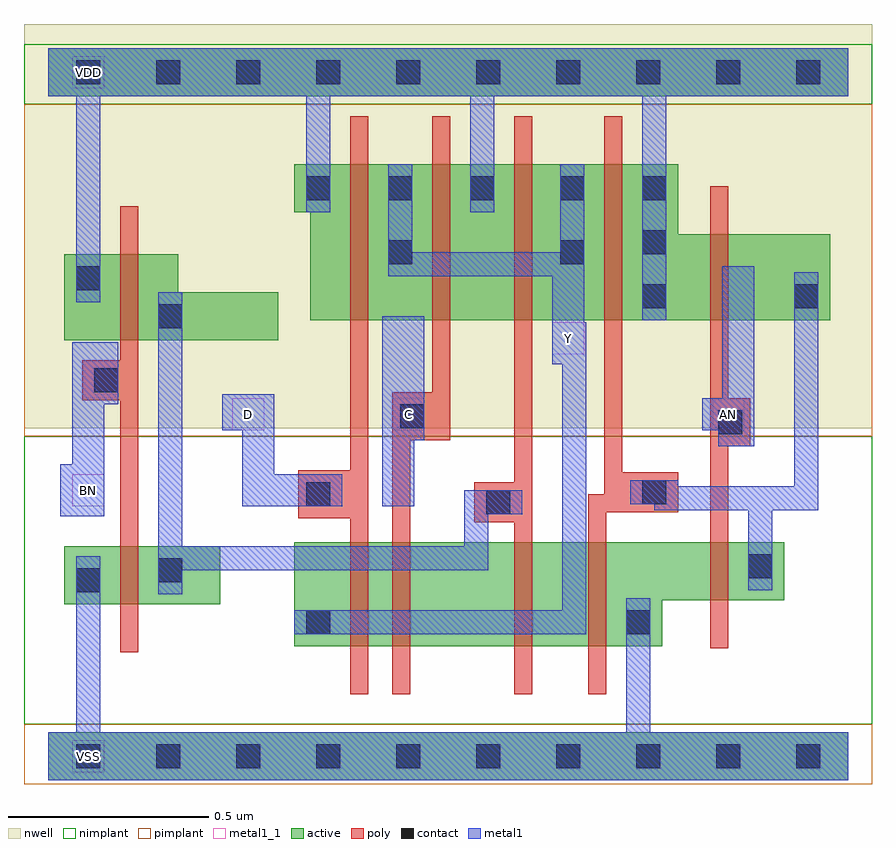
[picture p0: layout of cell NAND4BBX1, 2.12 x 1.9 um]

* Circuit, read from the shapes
.subckt NAND4BBX1 AN BN C D VDD VSS Y
M1 n1 BN VSS VSS nfet w=0.145u l=0.045u
M2 n2 D Y VSS nfet w=0.26u l=0.045u
M3 n3 C n2 VSS nfet w=0.26u l=0.045u
M4 n4 n1 n3 VSS nfet w=0.26u l=0.045u
M5 VSS n5 n4 VSS nfet w=0.26u l=0.045u
M6 n5 AN VSS VSS nfet w=0.145u l=0.045u
M7 n1 BN VDD VDD pfet w=0.215u l=0.045u
M8 Y D VDD VDD pfet w=0.39u l=0.045u
M9 VDD C Y VDD pfet w=0.39u l=0.045u
M10 Y n1 VDD VDD pfet w=0.39u l=0.045u
M11 VDD n5 Y VDD pfet w=0.39u l=0.045u
M12 n5 AN VDD VDD pfet w=0.215u l=0.045u
.ends

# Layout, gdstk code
import gdstk
lib = gdstk.Library(unit=1e-6, precision=5e-10)
def R(c, l, rs):  # rectangles x0, y0, x1, y1
    for r in rs: c.add(gdstk.rectangle(r[:2], r[2:], *l))
def A(c, l, x, y, w, h, nx, ny, dx, dy):  # array of equal rectangles
    R(c, l, [(x+i*dx, y+j*dy, x+i*dx+w, y+j*dy+h) for i in range(nx) for j in range(ny)])
def P(c, l, *ps):  # polygons
    for p in ps: c.add(gdstk.Polygon(p, *l))
active = (1, 0)
nwell = (2, 0)
poly = (3, 0)
nimplant = (4, 0)
pimplant = (5, 0)
contact = (6, 0)
metal1 = (7, 0)
metal1_1 = (7, 1)

nand4bbx1 = lib.new_cell('NAND4BBX1')
R(nand4bbx1, active, [(0,-0.06,2,0.06), (0.04,0.38,0.43,0.525), (0,1.65,2,1.77)])
P(nand4bbx1, active, [(0.615,1.48),(1.575,1.48),(1.575,1.305),(1.955,1.305),(1.955,1.09),(0.655,1.09),(0.655,1.36),(0.615,1.36)],
  [(0.04,1.255),(0.325,1.255),(0.325,1.16),(0.575,1.16),(0.575,1.04),(0.04,1.04)],
  [(0.615,0.535),(1.84,0.535),(1.84,0.39),(1.535,0.39),(1.535,0.275),(0.615,0.275)])
R(nand4bbx1, nwell, [(-0.06,0.82,2.06,1.83)])
P(nand4bbx1, poly, [(0.755,1.6),(0.8,1.6),(0.8,0.155),(0.755,0.155),(0.755,0.595),(0.625,0.595),(0.625,0.715),(0.755,0.715)],
  [(0.96,1.6),(1.005,1.6),(1.005,0.79),(0.905,0.79),(0.905,0.155),(0.86,0.155),(0.86,0.91),(0.96,0.91)],
  [(1.165,1.6),(1.21,1.6),(1.21,0.155),(1.165,0.155),(1.165,0.585),(1.065,0.585),(1.065,0.685),(1.165,0.685)],
  [(1.39,1.6),(1.435,1.6),(1.435,0.71),(1.575,0.71),(1.575,0.61),(1.395,0.61),(1.395,0.155),(1.35,0.155),(1.35,0.655),(1.39,0.655)],
  [(0.18,1.375),(0.225,1.375),(0.225,0.26),(0.18,0.26),(0.18,0.89),(0.085,0.89),(0.085,0.99),(0.18,0.99)],
  [(1.655,1.425),(1.7,1.425),(1.7,0.895),(1.755,0.895),(1.755,0.775),(1.7,0.775),(1.7,0.27),(1.655,0.27)])
R(nand4bbx1, nimplant, [(-0.06,0.08,2.06,0.8), (-0.06,1.63,2.06,1.78)])
R(nand4bbx1, pimplant, [(-0.06,-0.07,2.06,0.08), (-0.06,0.8,2.06,1.63)])
A(nand4bbx1, contact, 0.07, -0.03, 0.06, 0.06, 10, 2, 0.2, 1.71)
A(nand4bbx1, contact, 1.485, 1.12, 0.06, 0.06, 1, 3, 0, 0.135)
A(nand4bbx1, contact, 0.645, 1.39, 0.06, 0.06, 3, 1, 0.205, 0)
R(nand4bbx1, contact, [(0.645,0.305,0.705,0.365), (1.445,0.305,1.505,0.365), (0.07,0.41,0.13,0.47), (0.275,0.435,0.335,0.495), (1.75,0.445,1.81,0.505), (1.095,0.605,1.155,0.665), (0.645,0.625,0.705,0.685), (1.485,0.63,1.545,0.69), (1.675,0.805,1.735,0.865), (0.88,0.82,0.94,0.88), (0.115,0.91,0.175,0.97), (0.275,1.07,0.335,1.13), (1.865,1.12,1.925,1.18), (0.07,1.165,0.13,1.225), (0.85,1.23,0.91,1.29), (1.28,1.23,1.34,1.29), (1.28,1.39,1.34,1.45)])
P(nand4bbx1, metal1, [(0,1.77),(2,1.77),(2,1.65),(1.545,1.65),(1.545,1.09),(1.485,1.09),(1.485,1.65),(1.115,1.65),(1.115,1.36),(1.055,1.36),(1.055,1.65),(0.705,1.65),(0.705,1.36),(0.645,1.36),(0.645,1.65),(0.13,1.65),(0.13,1.135),(0.07,1.135),(0.07,1.65),(0,1.65)],
  [(0.85,1.48),(0.91,1.48),(0.91,1.26),(1.28,1.26),(1.28,1.48),(1.34,1.48),(1.34,1.085),(1.345,1.085),(1.345,0.305),(0.615,0.305),(0.615,0.365),(1.285,0.365),(1.285,0.98),(1.26,0.98),(1.26,1.2),(0.85,1.2)],
  [(0.275,1.16),(0.335,1.16),(0.335,0.525),(1.04,0.525),(1.04,0.665),(1.185,0.665),(1.185,0.605),(1.1,0.605),(1.1,0.465),(0.335,0.465),(0.335,0.405),(0.275,0.405)],
  [(1.455,0.69),(1.575,0.69),(1.575,0.675),(1.865,0.675),(1.865,1.21),(1.925,1.21),(1.925,0.615),(1.81,0.615),(1.81,0.415),(1.75,0.415),(1.75,0.615),(1.515,0.615),(1.515,0.63),(1.455,0.63)],
  [(0.06,1.035),(0.175,1.035),(0.175,0.88),(0.14,0.88),(0.14,0.6),(0.03,0.6),(0.03,0.73),(0.06,0.73)],
  [(0.435,0.905),(0.565,0.905),(0.565,0.705),(0.735,0.705),(0.735,0.625),(0.485,0.625),(0.485,0.815),(0.435,0.815)],
  [(0.835,1.1),(0.94,1.1),(0.94,0.79),(0.915,0.79),(0.915,0.625),(0.835,0.625)],
  [(0.07,0.5),(0.13,0.5),(0.13,0.06),(1.445,0.06),(1.445,0.395),(1.505,0.395),(1.505,0.06),(2,0.06),(2,-0.06),(0,-0.06),(0,0.06),(0.07,0.06)],
  [(1.685,1.225),(1.765,1.225),(1.765,0.775),(1.675,0.775),(1.675,0.815),(1.635,0.815),(1.635,0.895),(1.685,0.895)])
R(nand4bbx1, metal1_1, [(0.06,-0.04,0.14,0.04), (0.06,0.625,0.14,0.705), (0.46,0.815,0.54,0.895), (0.86,0.815,0.94,0.895), (1.66,0.815,1.74,0.895), (1.26,1.005,1.34,1.085), (0.06,1.67,0.14,1.75)])
nand4bbx1.add(gdstk.Label('Y', (1.3,1.045), layer=7, texttype=1))
nand4bbx1.add(gdstk.Label('D', (0.5,0.855), layer=7, texttype=1))
nand4bbx1.add(gdstk.Label('C', (0.9,0.855), layer=7, texttype=1))
nand4bbx1.add(gdstk.Label('AN', (1.7,0.855), layer=7, texttype=1))
nand4bbx1.add(gdstk.Label('BN', (0.1,0.665), layer=7, texttype=1))
nand4bbx1.add(gdstk.Label('VDD', (0.1,1.71), layer=7, texttype=1))
nand4bbx1.add(gdstk.Label('VSS', (0.1,0), layer=7, texttype=1))
nand4bbx1.add(gdstk.Label('NAND4BBX1', (0,0), layer=63, texttype=0))

lib.write_gds('NAND4BBX1.gds')
